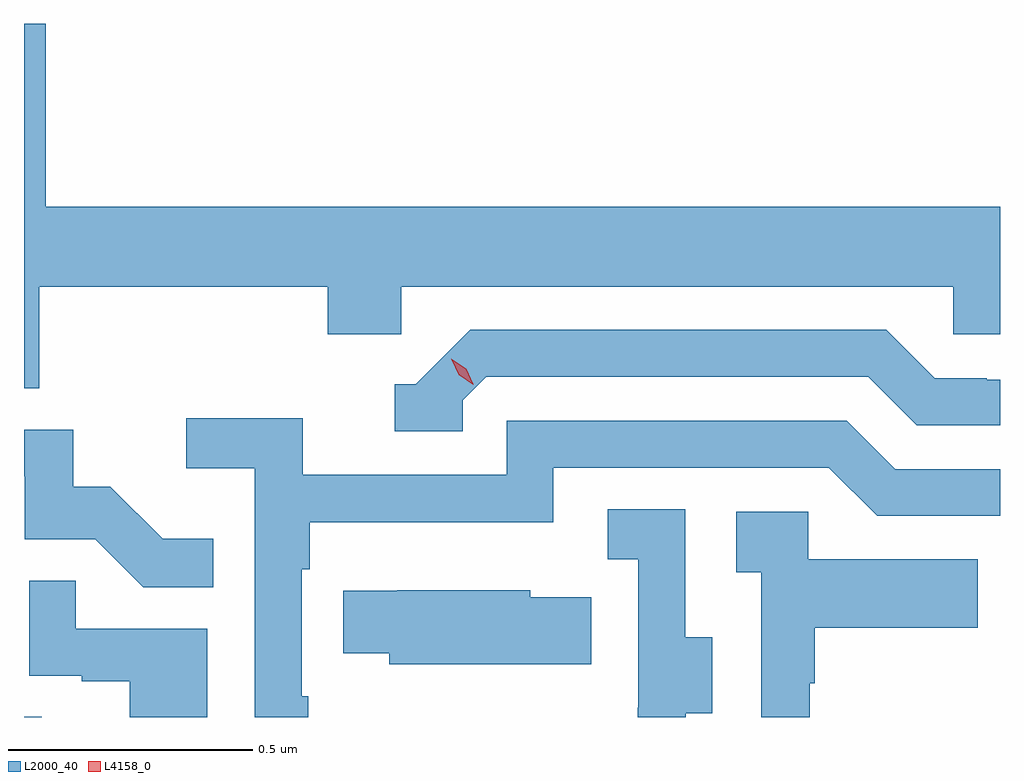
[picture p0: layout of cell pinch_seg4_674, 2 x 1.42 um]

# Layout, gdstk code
import gdstk
lib = gdstk.Library(unit=1e-6, precision=1e-09)
def R(c, l, rs):  # rectangles x0, y0, x1, y1
    for r in rs: c.add(gdstk.rectangle(r[:2], r[2:], *l))
def P(c, l, *ps):  # polygons
    for p in ps: c.add(gdstk.Polygon(p, *l))
L2000_40 = (2000, 40)
L4158_0 = (4158, 0)

pinch_seg4_674 = lib.new_cell('pinch_seg4_674')
R(pinch_seg4_674, L2000_40, [(1142.149,755.977,1142.185,755.978)])
P(pinch_seg4_674, L2000_40, [(1142.18,756.86),(1142.771,756.86),(1142.771,756.762),(1142.922,756.762),(1142.922,756.86),(1144.053,756.86),(1144.053,756.762),(1144.149,756.762),(1144.149,757.024),(1142.194,757.024),(1142.194,757.399),(1142.149,757.399),(1142.149,756.652),(1142.18,756.652)],
  [(1143.048,756.627),(1143.096,756.675),(1143.879,756.675),(1143.978,756.576),(1144.149,756.576),(1144.149,756.669),(1144.122,756.669),(1144.122,756.672),(1144.015,756.672),(1143.916,756.771),(1143.063,756.771),(1142.952,756.66),(1142.909,756.66),(1142.909,756.564),(1143.048,756.564)],
  [(1142.731,756.02),(1142.718,756.02),(1142.718,756.281),(1142.735,756.281),(1142.735,756.377),(1143.234,756.377),(1143.234,756.489),(1143.798,756.489),(1143.897,756.39),(1144.149,756.39),(1144.149,756.486),(1143.934,756.486),(1143.835,756.585),(1143.138,756.585),(1143.138,756.474),(1142.72,756.474),(1142.72,756.59),(1142.481,756.59),(1142.481,756.488),(1142.622,756.488),(1142.622,755.977),(1142.731,755.977)],
  [(1142.537,756.343),(1142.433,756.343),(1142.326,756.45),(1142.25,756.45),(1142.25,756.567),(1142.149,756.567),(1142.149,756.471),(1142.151,756.471),(1142.151,756.342),(1142.295,756.342),(1142.393,756.244),(1142.537,756.244)],
  [(1143.505,755.986),(1143.559,755.986),(1143.559,756.141),(1143.504,756.141),(1143.504,756.404),(1143.345,756.404),(1143.345,756.301),(1143.408,756.301),(1143.408,755.997),(1143.407,755.997),(1143.407,755.977),(1143.505,755.977)],
  [(1143.759,756.047),(1143.769,756.047),(1143.769,756.161),(1144.103,756.161),(1144.103,756.301),(1143.756,756.301),(1143.756,756.399),(1143.609,756.399),(1143.609,756.275),(1143.66,756.275),(1143.66,755.977),(1143.759,755.977)],
  [(1142.524,756.159),(1142.255,756.159),(1142.255,756.257),(1142.16,756.257),(1142.16,756.063),(1142.267,756.063),(1142.267,756.051),(1142.366,756.051),(1142.366,755.977),(1142.524,755.977)],
  [(1143.311,756.223),(1143.186,756.223),(1143.186,756.238),(1142.914,756.238),(1142.914,756.237),(1142.803,756.237),(1142.803,756.109),(1142.897,756.109),(1142.897,756.086),(1143.311,756.086)])
P(pinch_seg4_674, L4158_0, [(1143.07,756.659),(1143.04,756.679),(1143.024,756.712),(1143.024,756.712),(1143.024,756.712),(1143.055,756.692),(1143.07,756.66),(1143.07,756.659)])

lib.write_gds('pinch_seg4_674.gds')
